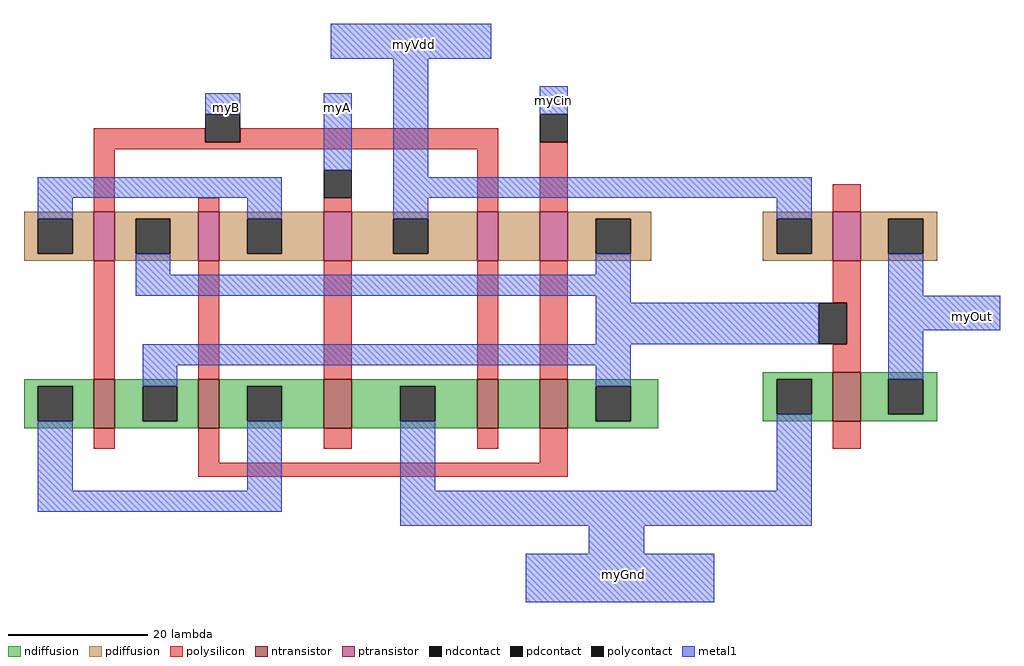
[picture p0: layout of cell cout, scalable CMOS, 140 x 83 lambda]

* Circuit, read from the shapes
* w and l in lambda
.subckt cout myA myB myCin myGnd myOut myVdd
M1 n1 myB n2 VSUBS nfet w=7 l=3
M2 n2 myCin n1 VSUBS nfet w=7 l=3
M3 myGnd myA n2 VSUBS nfet w=7 l=4
M4 n3 myB myGnd VSUBS nfet w=7 l=3
M5 n1 myCin n3 VSUBS nfet w=7 l=4
M6 myOut n1 myGnd VSUBS nfet w=7 l=4
M7 n1 myB n4 NWELL pfet w=7 l=3
M8 n4 myCin n1 NWELL pfet w=7 l=3
M9 myVdd myA n4 NWELL pfet w=7 l=4
M10 n5 myB myVdd NWELL pfet w=7 l=3
M11 n1 myCin n5 NWELL pfet w=7 l=4
M12 myOut n1 myVdd NWELL pfet w=7 l=4
.ends

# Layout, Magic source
magic
tech scmos
<< polysilicon >>
rect -13 32 3 34
rect 8 32 45 34
rect -13 31 45 32
rect -13 22 -10 31
rect 2 22 5 24
rect 20 22 24 24
rect 42 22 45 31
rect 51 22 55 32
rect 93 22 97 26
rect -13 -2 -10 15
rect 2 -2 5 15
rect 20 -2 24 15
rect 42 -2 45 15
rect 51 -2 55 15
rect 93 9 97 15
rect 95 3 97 9
rect 93 -1 97 3
rect -13 -12 -10 -9
rect 2 -14 5 -9
rect 20 -12 24 -9
rect 42 -12 45 -9
rect 51 -14 55 -9
rect 93 -12 97 -8
rect 2 -16 55 -14
<< ndiffusion >>
rect 83 -2 93 -1
rect -23 -3 -13 -2
rect -23 -8 -21 -3
rect -16 -8 -13 -3
rect -23 -9 -13 -8
rect -10 -3 2 -2
rect -10 -8 -6 -3
rect -1 -8 2 -3
rect -10 -9 2 -8
rect 5 -3 20 -2
rect 5 -8 9 -3
rect 14 -8 20 -3
rect 5 -9 20 -8
rect 24 -3 42 -2
rect 24 -8 31 -3
rect 36 -8 42 -3
rect 24 -9 42 -8
rect 45 -9 51 -2
rect 55 -3 68 -2
rect 55 -8 59 -3
rect 64 -8 68 -3
rect 83 -7 85 -2
rect 90 -7 93 -2
rect 83 -8 93 -7
rect 97 -2 108 -1
rect 97 -7 101 -2
rect 106 -7 108 -2
rect 97 -8 108 -7
rect 55 -9 68 -8
<< pdiffusion >>
rect -23 21 -13 22
rect -23 16 -21 21
rect -16 16 -13 21
rect -23 15 -13 16
rect -10 21 2 22
rect -10 16 -7 21
rect -2 16 2 21
rect -10 15 2 16
rect 5 21 20 22
rect 5 16 9 21
rect 14 16 20 21
rect 5 15 20 16
rect 24 21 42 22
rect 24 16 30 21
rect 35 16 42 21
rect 24 15 42 16
rect 45 15 51 22
rect 55 21 67 22
rect 55 16 59 21
rect 64 16 67 21
rect 55 15 67 16
rect 83 21 93 22
rect 83 16 85 21
rect 90 16 93 21
rect 83 15 93 16
rect 97 21 108 22
rect 97 16 101 21
rect 106 16 108 21
rect 97 15 108 16
<< metal1 >>
rect 21 44 44 49
rect 3 36 8 39
rect 20 28 24 39
rect -21 24 14 27
rect 30 27 35 44
rect 51 36 55 40
rect 30 24 90 27
rect -21 21 -16 24
rect 9 21 14 24
rect 30 21 35 24
rect 85 21 90 24
rect -7 13 -2 16
rect 59 13 64 16
rect -7 10 64 13
rect 59 9 64 10
rect 101 10 106 16
rect 59 3 91 9
rect 101 5 117 10
rect -6 0 64 3
rect -6 -3 -1 0
rect 59 -3 64 0
rect 101 -2 106 5
rect -21 -18 -16 -8
rect 9 -18 14 -8
rect -21 -21 14 -18
rect 31 -18 36 -8
rect 85 -18 90 -7
rect 31 -23 90 -18
rect 58 -27 66 -23
rect 49 -34 76 -27
<< ntransistor >>
rect -13 -9 -10 -2
rect 2 -9 5 -2
rect 20 -9 24 -2
rect 42 -9 45 -2
rect 51 -9 55 -2
rect 93 -8 97 -1
<< ptransistor >>
rect -13 15 -10 22
rect 2 15 5 22
rect 20 15 24 22
rect 42 15 45 22
rect 51 15 55 22
rect 93 15 97 22
<< polycontact >>
rect 3 32 8 36
rect 20 24 24 28
rect 51 32 55 36
rect 91 3 95 9
<< ndcontact >>
rect -21 -8 -16 -3
rect -6 -8 -1 -3
rect 9 -8 14 -3
rect 31 -8 36 -3
rect 59 -8 64 -3
rect 85 -7 90 -2
rect 101 -7 106 -2
<< pdcontact >>
rect -21 16 -16 21
rect -7 16 -2 21
rect 9 16 14 21
rect 30 16 35 21
rect 59 16 64 21
rect 85 16 90 21
rect 101 16 106 21
<< labels >>
rlabel metal1 33 46 33 46 5 myVdd
rlabel metal1 6 37 6 37 1 myB
rlabel metal1 22 37 22 37 1 myA
rlabel metal1 53 38 53 38 1 myCin
rlabel metal1 63 -30 63 -30 1 myGnd
rlabel metal1 113 7 113 7 7 myOut
<< end >>
